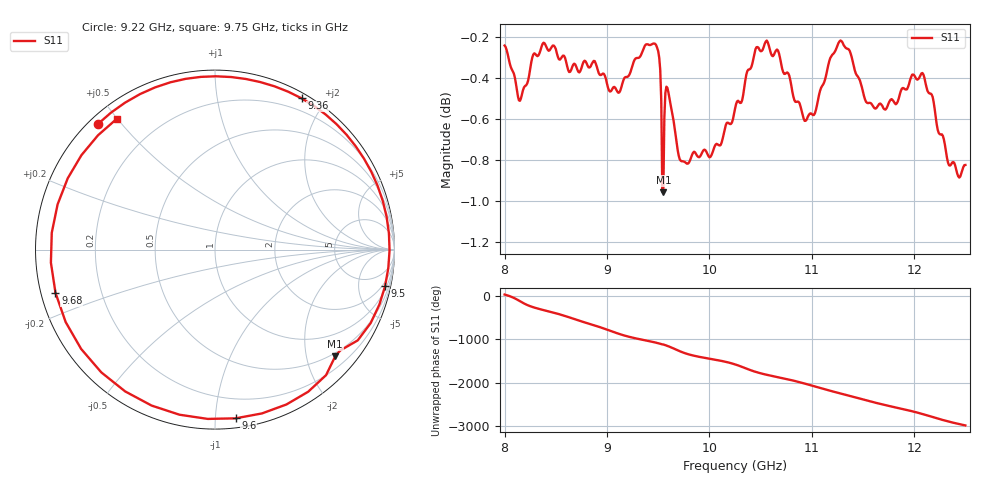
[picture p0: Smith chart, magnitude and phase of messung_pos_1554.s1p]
#  HZ  S  RI  R  50.00
! Rohde & Schwarz Vector Network Analyzer
! Rohde-Schwarz,ZNA43-4Port,1332450044101932,2.92
! Created: UTC 6/1/2026, 11:34:18 AM
! freq[Hz]  re:S11  im:S11
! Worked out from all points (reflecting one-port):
!   451 points, 8 GHz to 12.5 GHz, reference 50 ohm
!   lowest |S11| = -1.0 dB at 9.55 GHz (marker M1), VSWR 18.16, Z = 21.4 - j129 ohm
!   phase of S11 starts at 30 deg and turns -3017 deg over the sweep
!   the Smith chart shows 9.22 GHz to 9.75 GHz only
!   S11 on the Smith chart (normalised r, x): 9.22 GHz: 0.03, +0.43; 9.36 GHz: 0.06, +1.72; 9.5 GHz: 1.36, -9.19; 9.6 GHz: 0.06, -1.13; 9.68 GHz: 0.04, -0.13; 9.75 GHz: 0.06, +0.50
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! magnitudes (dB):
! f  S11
! 8 GHz  -0.2
! 8.15 GHz  -0.5
! 8.38 GHz  -0.2
! 8.57 GHz  -0.3
! 9.13 GHz  -0.5
! 9.22 GHz  -0.4
! 9.36 GHz  -0.3
! 9.5 GHz  -0.3
! 9.53 GHz  -0.5
! 9.55 GHz  -1.0
! 9.58 GHz  -0.4
! 9.6 GHz  -0.5
! 9.68 GHz  -0.7
! 9.69 GHz  -0.8
! 9.75 GHz  -0.8
! 10.01 GHz  -0.8
! 10.25 GHz  -0.6
! 10.46 GHz  -0.3
! 10.56 GHz  -0.2
! 10.82 GHz  -0.5
! 10.95 GHz  -0.6
! 11.26 GHz  -0.2
! 11.38 GHz  -0.3
! 11.61 GHz  -0.5
! 11.94 GHz  -0.4
! 12.08 GHz  -0.4
! 12.34 GHz  -0.8
! 12.5 GHz  -0.8
